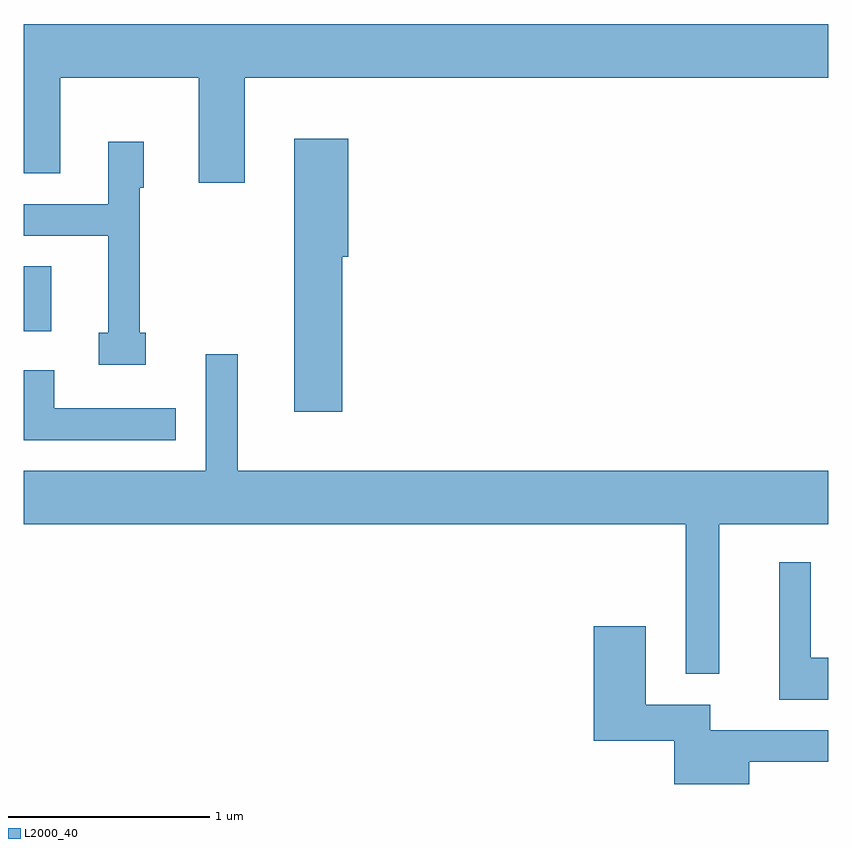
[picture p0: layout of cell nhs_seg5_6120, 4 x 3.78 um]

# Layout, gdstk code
import gdstk
lib = gdstk.Library(unit=1e-6, precision=1e-09)
def R(c, l, rs):  # rectangles x0, y0, x1, y1
    for r in rs: c.add(gdstk.rectangle(r[:2], r[2:], *l))
def P(c, l, *ps):  # polygons
    for p in ps: c.add(gdstk.Polygon(p, *l))
L2000_40 = (2000, 40)

nhs_seg5_6120 = lib.new_cell('nhs_seg5_6120')
R(nhs_seg5_6120, L2000_40, [(365.611,1524.356,365.749,1524.679)])
P(nhs_seg5_6120, L2000_40, [(366.709,1525.616),(369.611,1525.616),(369.611,1525.884),(365.611,1525.884),(365.611,1525.141),(365.794,1525.141),(365.794,1525.616),(366.481,1525.616),(366.481,1525.096),(366.709,1525.096)],
  [(367.194,1524.726),(367.224,1524.726),(367.224,1525.314),(366.956,1525.314),(366.956,1523.956),(367.194,1523.956)],
  [(366.219,1524.349),(366.189,1524.349),(366.189,1525.071),(366.209,1525.071),(366.209,1525.299),(366.031,1525.299),(366.031,1524.989),(365.611,1524.989),(365.611,1524.831),(366.031,1524.831),(366.031,1524.349),(365.983,1524.349),(365.983,1524.191),(366.219,1524.191)],
  [(369.069,1523.396),(369.611,1523.396),(369.611,1523.664),(366.674,1523.664),(366.674,1524.243),(366.516,1524.243),(366.516,1523.664),(365.611,1523.664),(365.611,1523.396),(368.901,1523.396),(368.901,1522.653),(369.069,1522.653)],
  [(366.368,1523.974),(365.764,1523.974),(365.764,1524.164),(365.611,1524.164),(365.611,1523.816),(366.368,1523.816)],
  [(369.611,1522.734),(369.524,1522.734),(369.524,1523.208),(369.366,1523.208),(369.366,1522.526),(369.611,1522.526)],
  [(369.219,1522.216),(369.611,1522.216),(369.611,1522.374),(369.024,1522.374),(369.024,1522.499),(368.704,1522.499),(368.704,1522.889),(368.446,1522.889),(368.446,1522.321),(368.846,1522.321),(368.846,1522.106),(369.219,1522.106)])

lib.write_gds('nhs_seg5_6120.gds')
